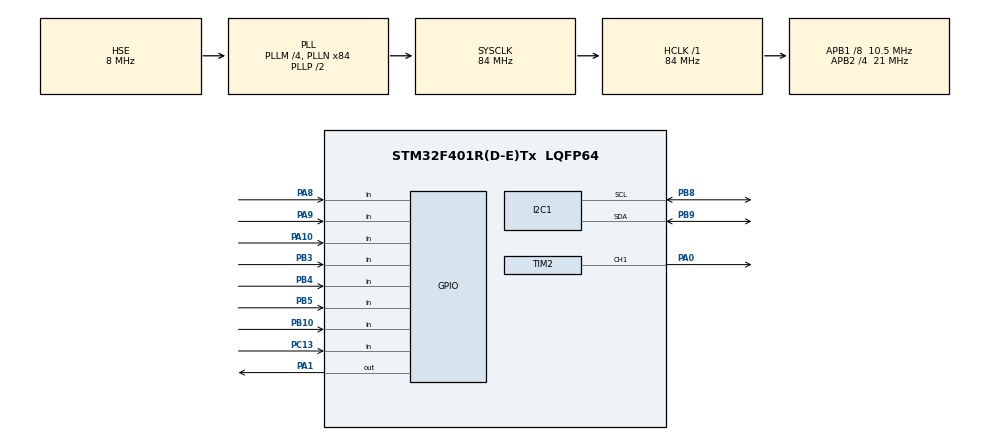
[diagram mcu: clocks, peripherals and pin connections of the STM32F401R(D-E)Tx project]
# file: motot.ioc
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Mcu.Family=STM32F4
Mcu.Name=STM32F401R(D-E)Tx
Mcu.Package=LQFP64
NVIC.PriorityGroup=NVIC_PRIORITYGROUP_4
NVIC.TIM2_IRQn=true\:0\:0\:false\:false\:true\:true\:true\:true
PA0-WKUP.Signal=S_TIM2_CH1_ETR
PA1.Signal=GPIO_Output
PA10.Signal=GPIO_Input
PA13.Mode=Serial_Wire
PA13.Signal=SYS_JTMS-SWDIO
PA14.Mode=Serial_Wire
PA14.Signal=SYS_JTCK-SWCLK
PA8.Signal=GPIO_Input
PA9.Signal=GPIO_Input
PB10.Signal=GPIO_Input
PB3.Signal=GPIO_Input
PB4.Signal=GPIO_Input
PB5.Signal=GPIO_Input
PB8.Mode=I2C
PB8.Signal=I2C1_SCL
PB9.Mode=I2C
PB9.Signal=I2C1_SDA
PC13-ANTI_TAMP.Signal=GPIO_Input
PH0\ -\ OSC_IN.Mode=HSE-External-Oscillator
PH0\ -\ OSC_IN.Signal=RCC_OSC_IN
PH1\ -\ OSC_OUT.Mode=HSE-External-Oscillator
PH1\ -\ OSC_OUT.Signal=RCC_OSC_OUT
ProjectManager.HeapSize=0x200
ProjectManager.StackSize=0x400
ProjectManager.TargetToolchain=MDK-ARM V5.32
RCC.48MHZClocksFreq_Value=42000000
RCC.AHBFreq_Value=84000000
RCC.APB1CLKDivider=RCC_HCLK_DIV8
RCC.APB1Freq_Value=10500000
RCC.APB1TimFreq_Value=21000000
RCC.APB2CLKDivider=RCC_HCLK_DIV4
RCC.APB2Freq_Value=21000000
RCC.APB2TimFreq_Value=42000000
RCC.CortexFreq_Value=84000000
RCC.EnbaleCSS=true
RCC.HCLKFreq_Value=84000000
RCC.HSE_VALUE=8000000
RCC.HSI_VALUE=16000000
RCC.LSE_VALUE=32768
RCC.PLLM=4
RCC.PLLN=84
RCC.PLLSourceVirtual=RCC_PLLSOURCE_HSE
RCC.SYSCLKFreq_VALUE=84000000
RCC.SYSCLKSource=RCC_SYSCLKSOURCE_PLLCLK
RCC.VCOOutputFreq_Value=168000000
SH.S_TIM2_CH1_ETR.0=TIM2_CH1,PWM Generation1 CH1
TIM2.Channel-PWM\ Generation1\ CH1=TIM_CHANNEL_1
TIM2.Period=1000-1
TIM2.Prescaler=420-1
VP_TIM2_VS_ClockSourceINT.Mode=Internal
board=custom

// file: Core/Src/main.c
/* USER CODE BEGIN Header */
/**
  ******************************************************************************
  * @file           : main.c
  * @brief          : Main program body
  ******************************************************************************
  * @attention
  *
  * Copyright (c) 2023 STMicroelectronics.
  * All rights reserved.
  *
  * This software is licensed under terms that can be found in the LICENSE file
  * in the root directory of this software component.
  * If no LICENSE file comes with this software, it is provided AS-IS.
  *
  ******************************************************************************
  */
/* USER CODE END Header */
#include "main.h"
#include <stdbool.h>
#include <stdio.h>
#include <stdlib.h>
#include <string.h>
/* USER CODE BEGIN Includes */
#include "liquidcrystal_i2c.h"
/* USER CODE END Includes */

I2C_HandleTypeDef hi2c1;

TIM_HandleTypeDef htim2;

void SystemClock_Config(void);
static void MX_GPIO_Init(void);
static void MX_TIM2_Init(void);
static void MX_I2C1_Init(void);
void presentTime(long time);

int main(void)
{

  /* MCU Configuration--------------------------------------------------------*/

  /* Reset of all peripherals, Initializes the Flash interface and the Systick. */
  HAL_Init();

  /* Configure the system clock */
  SystemClock_Config();

  /* Initialize all configured peripherals */\

	//Initialization (Welcome Page)
  MX_GPIO_Init();
  MX_TIM2_Init();
  MX_I2C1_Init();
  /* USER CODE BEGIN 2 */
	HAL_TIM_PWM_Start(&htim2, TIM_CHANNEL_1);

	HD44780_Init(2);

	while(HAL_GPIO_ReadPin(GPIOA, GPIO_PIN_8) == 0){
		HD44780_NoBacklight();
		continue;
	}
	HD44780_Backlight();
  HD44780_Clear();
  HD44780_SetCursor(0,0);
  HD44780_PrintStr(" Thanks For Using SMART MEDICINE BOX! :)");
  int x;
  for(int x=0; x<24; x=x+1)
  {
    HD44780_ScrollDisplayLeft();  //HD44780_ScrollDisplayRight();
    HAL_Delay(300);
  }
	HAL_Delay(5000);
	HD44780_Clear();
	HD44780_SetCursor(0,0);
  HD44780_PrintStr("**MEDICINE BOX**");
	HD44780_SetCursor(0,1);
	HD44780_PrintStr("Start set time>>");

	  /* Infinite loop */
  /* USER CODE BEGIN WHILE */

	long time = 0;
	while (1){
		bool quit = false;
	if((HAL_GPIO_ReadPin(GPIOB, GPIO_PIN_3) == 1)||(HAL_GPIO_ReadPin(GPIOB, GPIO_PIN_5) == 1)){

		int i = 0;
			while(i<400){//60 seconds on inactive will
				HD44780_Clear();
				i++;
				int hours = time / 36;  // 1 hour = 3600 seconds
				int minutes = (time % 36) / 0.6;
				presentTime(time);

				if(HAL_GPIO_ReadPin(GPIOB, GPIO_PIN_3) == 1){
					time += 6;
					HAL_GPIO_TogglePin(GPIOB, GPIO_PIN_3);
					HD44780_SetCursor(0,1);
					HD44780_PrintStr("Added ten mins");
					HAL_Delay(1000);
					i=0;
				}else if(HAL_GPIO_ReadPin(GPIOB, GPIO_PIN_5) == 1){
					time += 36;
					HAL_GPIO_TogglePin(GPIOB, GPIO_PIN_5);
					HD44780_SetCursor(0,1);
					HD44780_PrintStr("Added one hour");
					HAL_Delay(1000);
					i=0;
				}else if(HAL_GPIO_ReadPin(GPIOA, GPIO_PIN_10) == 1){
					HAL_GPIO_TogglePin(GPIOB, GPIO_PIN_3);
					HD44780_Clear();
					HD44780_PrintStr("RESETTING...");
					HAL_Delay(3000);
					time = 0;
					HD44780_SetCursor(0,1);
					HD44780_PrintStr("All Clear");
					HAL_Delay(3000);
					i=0;
				}
				HAL_Delay(10);
				quit = true;
			}
			if(quit == 1) break;

	}
}

			int hours = time / 36;  // 1 hour = 3600 seconds
			int minutes = (time % 36) / 0.6;
			presentTime(time);
			HAL_Delay(5000);

	for(int i = 0; i< hours; i++){ //WAIT...
		HAL_Delay(36000000); //36000000 = 1 hour
	}

	for(int i = 0; i< minutes/10; i++){
		HAL_Delay(6000000);  //6000000 = 10 mins
	}

	HAL_GPIO_TogglePin(GPIOA, GPIO_PIN_1);
  while (1)
  {

    /* USER CODE END WHILE */
		if(HAL_GPIO_ReadPin(GPIOA, GPIO_PIN_9) == GPIO_PIN_RESET)
		{
		}
		else
		{
			if(HAL_GPIO_ReadPin(GPIOA, GPIO_PIN_1) == 1){
				HAL_GPIO_TogglePin(GPIOA, GPIO_PIN_1);
			}

			htim2.Instance->CCR1 = 97;
			HAL_Delay(20000);//1000 delay = 1s
			htim2.Instance->CCR1 = 45;
		}
  }
}

void SystemClock_Config(void)
{
  RCC_OscInitTypeDef RCC_OscInitStruct = {0};
  RCC_ClkInitTypeDef RCC_ClkInitStruct = {0};

  /** Configure the main internal regulator output voltage
  */
  __HAL_RCC_PWR_CLK_ENABLE();
  __HAL_PWR_VOLTAGESCALING_CONFIG(PWR_REGULATOR_VOLTAGE_SCALE2);

  /** Initializes the RCC Oscillators according to the specified parameters
  * in the RCC_OscInitTypeDef structure.
  */
  RCC_OscInitStruct.OscillatorType = RCC_OSCILLATORTYPE_HSE;
  RCC_OscInitStruct.HSEState = RCC_HSE_ON;
  RCC_OscInitStruct.PLL.PLLState = RCC_PLL_ON;
  RCC_OscInitStruct.PLL.PLLSource = RCC_PLLSOURCE_HSE;
  RCC_OscInitStruct.PLL.PLLM = 4;
  RCC_OscInitStruct.PLL.PLLN = 84;
  RCC_OscInitStruct.PLL.PLLP = RCC_PLLP_DIV2;
  RCC_OscInitStruct.PLL.PLLQ = 4;
  if (HAL_RCC_OscConfig(&RCC_OscInitStruct) != HAL_OK)
  {
    Error_Handler();
  }

  /** Initializes the CPU, AHB and APB buses clocks
  */
  RCC_ClkInitStruct.ClockType = RCC_CLOCKTYPE_HCLK|RCC_CLOCKTYPE_SYSCLK
                              |RCC_CLOCKTYPE_PCLK1|RCC_CLOCKTYPE_PCLK2;
  RCC_ClkInitStruct.SYSCLKSource = RCC_SYSCLKSOURCE_PLLCLK;
  RCC_ClkInitStruct.AHBCLKDivider = RCC_SYSCLK_DIV1;
  RCC_ClkInitStruct.APB1CLKDivider = RCC_HCLK_DIV8;
  RCC_ClkInitStruct.APB2CLKDivider = RCC_HCLK_DIV4;

  if (HAL_RCC_ClockConfig(&RCC_ClkInitStruct, FLASH_LATENCY_2) != HAL_OK)
  {
    Error_Handler();
  }

  /** Enables the Clock Security System
  */
  HAL_RCC_EnableCSS();
}

void presentTime(long time){
			int hours = time / 36;  // 1 hour = 3600 seconds
			int minutes = (time % 36) / 0.6;
			char hours_string[20];
			char minutes_string[20];
			char result[20];
			sprintf(hours_string, "%d", hours);
			sprintf(minutes_string, "%d", minutes);

			strcpy(result, hours_string);
			strcat(result, "Hours ");// Copy str1 into result
			strcat(result, minutes_string);
			strcat(result, "Mins ");
			HD44780_Clear();
			HD44780_PrintStr(result);
}

static void MX_I2C1_Init(void)
{

  hi2c1.Instance = I2C1;
  hi2c1.Init.ClockSpeed = 100000;
  hi2c1.Init.DutyCycle = I2C_DUTYCYCLE_2;
  hi2c1.Init.OwnAddress1 = 0;
  hi2c1.Init.AddressingMode = I2C_ADDRESSINGMODE_7BIT;
  hi2c1.Init.DualAddressMode = I2C_DUALADDRESS_DISABLE;
  hi2c1.Init.OwnAddress2 = 0;
  hi2c1.Init.GeneralCallMode = I2C_GENERALCALL_DISABLE;
  hi2c1.Init.NoStretchMode = I2C_NOSTRETCH_DISABLE;
  if (HAL_I2C_Init(&hi2c1) != HAL_OK)
  {
    Error_Handler();
  }

}

static void MX_TIM2_Init(void)
{

  TIM_ClockConfigTypeDef sClockSourceConfig = {0};
  TIM_MasterConfigTypeDef sMasterConfig = {0};
  TIM_OC_InitTypeDef sConfigOC = {0};

  htim2.Instance = TIM2;
  htim2.Init.Prescaler = 420-1;
  htim2.Init.CounterMode = TIM_COUNTERMODE_UP;
  htim2.Init.Period = 1000-1;
  htim2.Init.ClockDivision = TIM_CLOCKDIVISION_DIV1;
  htim2.Init.AutoReloadPreload = TIM_AUTORELOAD_PRELOAD_DISABLE;
  if (HAL_TIM_Base_Init(&htim2) != HAL_OK)
  {
    Error_Handler();
  }
  sClockSourceConfig.ClockSource = TIM_CLOCKSOURCE_INTERNAL;
  if (HAL_TIM_ConfigClockSource(&htim2, &sClockSourceConfig) != HAL_OK)
  {
    Error_Handler();
  }
  if (HAL_TIM_PWM_Init(&htim2) != HAL_OK)
  {
    Error_Handler();
  }
  sMasterConfig.MasterOutputTrigger = TIM_TRGO_RESET;
  sMasterConfig.MasterSlaveMode = TIM_MASTERSLAVEMODE_DISABLE;
  if (HAL_TIMEx_MasterConfigSynchronization(&htim2, &sMasterConfig) != HAL_OK)
  {
    Error_Handler();
  }
  sConfigOC.OCMode = TIM_OCMODE_PWM1;
  sConfigOC.Pulse = 0;
  sConfigOC.OCPolarity = TIM_OCPOLARITY_HIGH;
  sConfigOC.OCFastMode = TIM_OCFAST_DISABLE;
  if (HAL_TIM_PWM_ConfigChannel(&htim2, &sConfigOC, TIM_CHANNEL_1) != HAL_OK)
  {
    Error_Handler();
  }
  HAL_TIM_MspPostInit(&htim2);

}

static void MX_GPIO_Init(void)
{
  GPIO_InitTypeDef GPIO_InitStruct = {0};

  /* GPIO Ports Clock Enable */
  __HAL_RCC_GPIOC_CLK_ENABLE();
  __HAL_RCC_GPIOH_CLK_ENABLE();
  __HAL_RCC_GPIOA_CLK_ENABLE();
  __HAL_RCC_GPIOB_CLK_ENABLE();

  /*Configure GPIO pin Output Level */
  HAL_GPIO_WritePin(GPIOA, GPIO_PIN_1, GPIO_PIN_RESET);

  /*Configure GPIO pin : PC13 */
  GPIO_InitStruct.Pin = GPIO_PIN_13;
  GPIO_InitStruct.Mode = GPIO_MODE_INPUT;
  GPIO_InitStruct.Pull = GPIO_NOPULL;
  HAL_GPIO_Init(GPIOC, &GPIO_InitStruct);

  /*Configure GPIO pin : PA1 */
  GPIO_InitStruct.Pin = GPIO_PIN_1;
  GPIO_InitStruct.Mode = GPIO_MODE_OUTPUT_PP;
  GPIO_InitStruct.Pull = GPIO_NOPULL;
  GPIO_InitStruct.Speed = GPIO_SPEED_FREQ_LOW;
  HAL_GPIO_Init(GPIOA, &GPIO_InitStruct);

  /*Configure GPIO pin : PA9 */
  GPIO_InitStruct.Pin = GPIO_PIN_9;
  GPIO_InitStruct.Mode = GPIO_MODE_INPUT;
  GPIO_InitStruct.Pull = GPIO_NOPULL;
  HAL_GPIO_Init(GPIOA, &GPIO_InitStruct);

}

void Error_Handler(void)
{
  __disable_irq();
  while (1)
  {
  }
}
